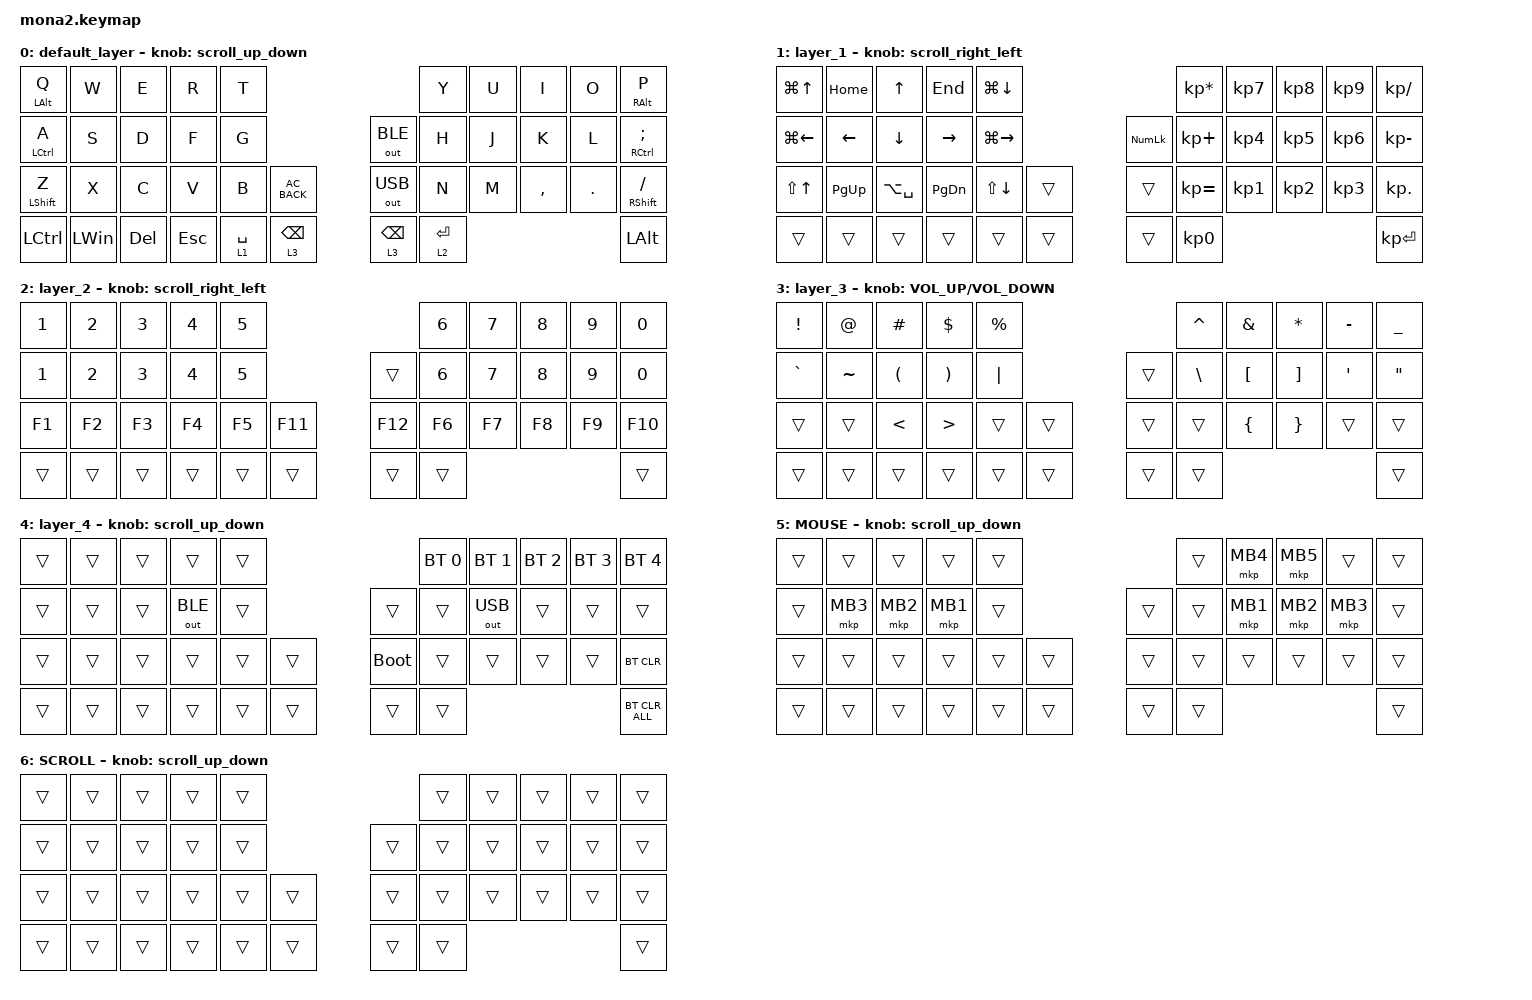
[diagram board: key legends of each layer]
#include <input/processors.dtsi>
#include <dt-bindings/zmk/input_transform.h>
#include <zephyr/dt-bindings/input/input-event-codes.h>
#include <behaviors.dtsi>
#include <dt-bindings/zmk/bt.h>
#include <dt-bindings/zmk/keys.h>
#include <dt-bindings/zmk/outputs.h>
#include <dt-bindings/zmk/pointing.h>

#define ZMK_POINTING_DEFAULT_SCRL_VAL 100
#define MOUSE 5
#define SCROLL 6

&mt {
    flavor = "balanced";
    quick-tap-ms = <0>;
};

&lt {
    quick-tap-ms = <300>;
    flavor = "balanced";
};

/ {
    combos {
        compatible = "zmk,combos";

        layer4_ESC {
            bindings = <&lt 4 CAPSLOCK>;
            key-positions = <39 38>;
        };

        tab {
            bindings = <&kp TAB>;
            key-positions = <11 12>;
        };

        mbLeft {
            bindings = <&mkp MB1>;
            key-positions = <17 18>;
        };

        mbRight {
            bindings = <&mkp MB2>;
            key-positions = <18 19>;
        };

        mbMiddle {
            bindings = <&mkp MB3>;
            key-positions = <17 19>;
        };

        Cp {
            bindings = <&kp LC(C)>;
            key-positions = <22 23>;
        };

        Pst {
            bindings = <&kp LC(V)>;
            key-positions = <23 24>;
        };

        SelectAll {
            bindings = <&kp LC(A)>;
            key-positions = <11 13>;
        };

        RightTab {
            bindings = <&kp LC(TAB)>;
            key-positions = <2 3>;
        };

        LeftTab {
            bindings = <&kp LS(LC(TAB))>;
            key-positions = <1 2>;
        };

        ScreenShot {
            bindings = <&kp LG(LS(S))>;
            key-positions = <10 11>;
        };

        mb1-copy {
            bindings = <&mkp MB1>;
            key-positions = <6 7>;
        };

        mb2-copy {
            bindings = <&mkp MB2>;
            key-positions = <7 8>;
        };

        mb3-copy {
            bindings = <&mkp MB3>;
            key-positions = <6 8>;
        };

        SftTAB {
            bindings = <&kp LS(TAB)>;
            key-positions = <12 13>;
        };
    };

    macros {
        to_layer_0: to_layer_0 {
            compatible = "zmk,behavior-macro-one-param";
            #binding-cells = <1>;
            bindings = <&to 0 &macro_param_1to1 &kp MACRO_PLACEHOLDER>;
            label = "TO_LAYER_0";
        };
    };

    behaviors {
        lt_to_layer_0: lt_to_layer_0 {
            compatible = "zmk,behavior-hold-tap";
            label = "LAYER_TAP_TO_0";
            bindings = <&mo>, <&to_layer_0>;

            #binding-cells = <2>;
            tapping-term-ms = <200>;
        };

        scroll_up_down: mouse_wheel_up_down {
            compatible = "zmk,behavior-sensor-rotate";
            #sensor-binding-cells = <0>;
            bindings = <&msc SCRL_DOWN>, <&msc SCRL_UP>;

            tap-ms = <20>;
        };

        scroll_right_left: mouse_wheel_right_left {
            compatible = "zmk,behavior-sensor-rotate";
            #sensor-binding-cells = <0>;
            bindings = <&msc SCRL_RIGHT>, <&msc SCRL_LEFT>;

            tap-ms = <20>;
        };
    };

    keymap {
        compatible = "zmk,keymap";

        default_layer {
            bindings = <
&mt LALT Q        &kp W         &kp E    &kp R    &kp T                                                                  &kp Y        &kp U  &kp I      &kp O    &mt RALT P
&mt LCTRL A       &kp S         &kp D    &kp F    &kp G                                      &out OUT_BLE                &kp H        &kp J  &kp K      &kp L    &mt RCTRL SEMI
&mt LEFT_SHIFT Z  &kp X         &kp C    &kp V    &kp B        &kp C_AC_BACK                 &out OUT_USB                &kp N        &kp M  &kp COMMA  &kp DOT  &mt RSHFT SLASH
&kp LCTRL         &kp LEFT_WIN  &kp DEL  &kp ESC  &lt 1 SPACE  &lt_to_layer_0 3 BACKSPACE    &lt_to_layer_0 3 BACKSPACE  &lt 2 ENTER                             &kp LEFT_ALT
            >;

            sensor-bindings = <&scroll_up_down>;
        };

        layer_1 {
            bindings = <
&kp LG(UP)    &kp HOME   &kp UP         &kp END    &kp LG(DOWN)                             &kp KP_MULTIPLY  &kp KP_N7  &kp KP_N8  &kp KP_N9  &kp KP_DIVIDE
&kp LG(LEFT)  &kp LEFT   &kp DOWN       &kp RIGHT  &kp LG(RIGHT)            &kp KP_NUMLOCK  &kp KP_PLUS      &kp KP_N4  &kp KP_N5  &kp KP_N6  &kp KP_MINUS
&kp LS(UP)    &kp PG_UP  &kp LA(SPACE)  &kp PG_DN  &kp LS(DOWN)   &trans    &trans          &kp KP_EQUAL     &kp KP_N1  &kp KP_N2  &kp KP_N3  &kp KP_DOT
&trans        &trans     &trans         &trans     &trans         &trans    &trans          &kp KP_N0                                         &kp KP_ENTER
            >;

            sensor-bindings = <&scroll_right_left>;
        };

        layer_2 {
            bindings = <
&kp NUMBER_1  &kp NUMBER_2  &kp NUMBER_3  &kp NUMBER_4  &kp N5                      &kp NUMBER_6  &kp NUMBER_7  &kp NUMBER_8  &kp NUMBER_9  &kp NUMBER_0
&kp NUMBER_1  &kp NUMBER_2  &kp NUMBER_3  &kp NUMBER_4  &kp N5             &trans   &kp NUMBER_6  &kp NUMBER_7  &kp NUMBER_8  &kp NUMBER_9  &kp NUMBER_0
&kp F1        &kp F2        &kp F3        &kp F4        &kp F5  &kp F11    &kp F12  &kp F6        &kp F7        &kp F8        &kp F9        &kp F10
&trans        &trans        &trans        &trans        &trans  &trans     &trans   &trans                                                  &trans
            >;

            sensor-bindings = <&scroll_right_left>;
        };

        layer_3 {
            bindings = <
&kp EXCLAMATION  &kp AT_SIGN  &kp POUND             &kp DOLLAR             &kp PERCENT                    &kp CARET      &kp AMPERSAND     &kp ASTERISK       &kp MINUS  &kp UNDERSCORE
&kp GRAVE        &kp TILDE    &kp LEFT_PARENTHESIS  &kp RIGHT_PARENTHESIS  &kp PIPE               &trans  &kp BACKSLASH  &kp LEFT_BRACKET  &kp RIGHT_BRACKET  &kp SQT    &kp DQT
&trans           &trans       &kp LESS_THAN         &kp GREATER_THAN       &trans       &trans    &trans  &trans         &kp LEFT_BRACE    &kp RIGHT_BRACE    &trans     &trans
&trans           &trans       &trans                &trans                 &trans       &trans    &trans  &trans                                                         &trans
            >;

            sensor-bindings = <&inc_dec_kp C_VOLUME_UP C_VOLUME_DOWN>;
        };

        layer_4 {
            bindings = <
&trans  &trans  &trans  &trans        &trans                         &bt BT_SEL 0  &bt BT_SEL 1  &bt BT_SEL 2  &bt BT_SEL 3  &bt BT_SEL 4
&trans  &trans  &trans  &out OUT_BLE  &trans            &trans       &trans        &out OUT_USB  &trans        &trans        &trans
&trans  &trans  &trans  &trans        &trans  &trans    &bootloader  &trans        &trans        &trans        &trans        &bt BT_CLR
&trans  &trans  &trans  &trans        &trans  &trans    &trans       &trans                                                  &bt BT_CLR_ALL
            >;

            sensor-bindings = <&scroll_up_down>;
        };

        MOUSE {
            bindings = <
&trans  &trans    &trans    &trans    &trans                    &trans  &mkp MB4  &mkp MB5  &trans    &trans
&trans  &mkp MB3  &mkp MB2  &mkp MB1  &trans            &trans  &trans  &mkp MB1  &mkp MB2  &mkp MB3  &trans
&trans  &trans    &trans    &trans    &trans  &trans    &trans  &trans  &trans    &trans    &trans    &trans
&trans  &trans    &trans    &trans    &trans  &trans    &trans  &trans                                &trans
            >;

            sensor-bindings = <&scroll_up_down>;
        };

        SCROLL {
            bindings = <
&trans  &trans  &trans  &trans  &trans                    &trans  &trans  &trans  &trans  &trans
&trans  &trans  &trans  &trans  &trans            &trans  &trans  &trans  &trans  &trans  &trans
&trans  &trans  &trans  &trans  &trans  &trans    &trans  &trans  &trans  &trans  &trans  &trans
&trans  &trans  &trans  &trans  &trans  &trans    &trans  &trans                          &trans
            >;

            sensor-bindings = <&scroll_up_down>;
        };
    };
};
